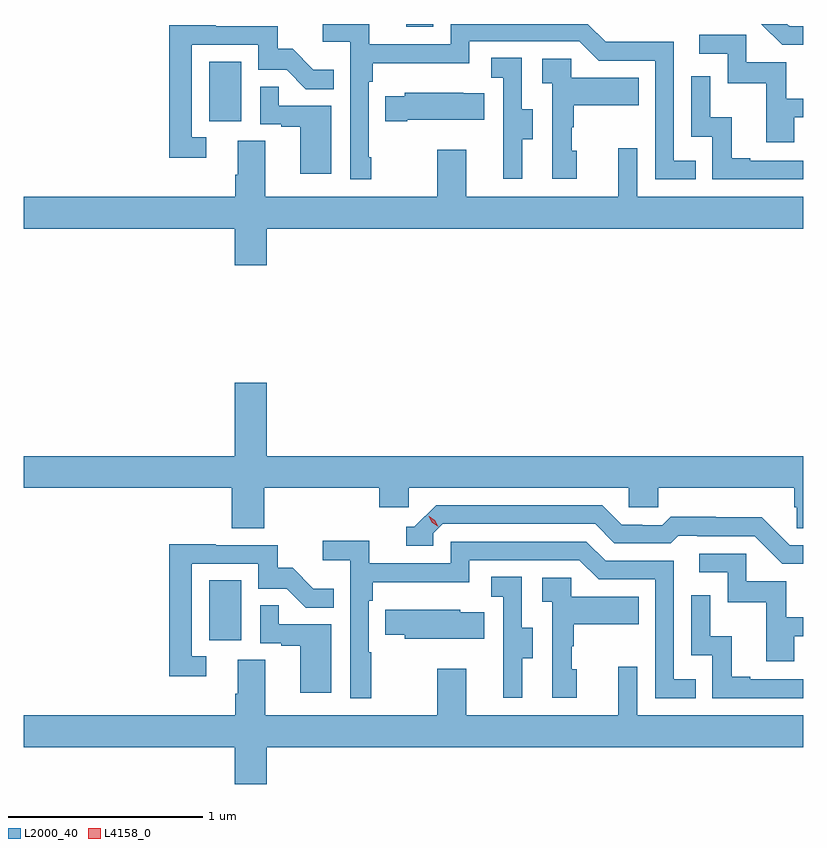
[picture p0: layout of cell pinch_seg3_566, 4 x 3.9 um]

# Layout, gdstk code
import gdstk
lib = gdstk.Library(unit=1e-6, precision=1e-09)
def R(c, l, rs):  # rectangles x0, y0, x1, y1
    for r in rs: c.add(gdstk.rectangle(r[:2], r[2:], *l))
def P(c, l, *ps):  # polygons
    for p in ps: c.add(gdstk.Polygon(p, *l))
L2000_40 = (2000, 40)
L4158_0 = (4158, 0)

pinch_seg3_566 = lib.new_cell('pinch_seg3_566')
R(pinch_seg3_566, L2000_40, [(1141.898,694.806,1142.062,695.113), (1141.898,697.47,1142.062,697.777), (1142.909,697.956,1143.048,697.97)])
P(pinch_seg3_566, L2000_40, [(1144.269,697.97),(1143.976,697.97),(1143.978,697.968),(1144.267,697.968)],
  [(1142.731,697.285),(1142.718,697.285),(1142.718,697.673),(1142.738,697.673),(1142.738,697.769),(1143.234,697.769),(1143.234,697.881),(1143.798,697.881),(1143.897,697.782),(1144.188,697.782),(1144.188,697.173),(1144.397,697.173),(1144.397,697.269),(1144.284,697.269),(1144.284,697.878),(1143.934,697.878),(1143.842,697.97),(1143.138,697.97),(1143.138,697.866),(1142.72,697.866),(1142.72,697.97),(1142.481,697.97),(1142.481,697.88),(1142.622,697.88),(1142.622,697.173),(1142.731,697.173)],
  [(1144.947,697.959),(1144.878,697.959),(1144.867,697.97),(1144.732,697.97),(1144.839,697.863),(1144.947,697.863)],
  [(1141.882,697.389),(1141.809,697.389),(1141.809,697.863),(1142.151,697.863),(1142.151,697.734),(1142.295,697.734),(1142.393,697.636),(1142.537,697.636),(1142.537,697.735),(1142.433,697.735),(1142.326,697.842),(1142.25,697.842),(1142.25,697.959),(1141.931,697.959),(1141.931,697.964),(1141.693,697.964),(1141.693,697.284),(1141.882,697.284)],
  [(1144.903,697.491),(1144.947,697.491),(1144.947,697.587),(1144.861,697.587),(1144.861,697.773),(1144.656,697.773),(1144.656,697.914),(1144.413,697.914),(1144.413,697.818),(1144.56,697.818),(1144.56,697.665),(1144.759,697.665),(1144.759,697.362),(1144.903,697.362)],
  [(1143.505,697.378),(1143.559,697.378),(1143.559,697.533),(1143.504,697.533),(1143.504,697.796),(1143.345,697.796),(1143.345,697.693),(1143.408,697.693),(1143.408,697.389),(1143.407,697.389),(1143.407,697.176),(1143.505,697.176)],
  [(1143.784,697.32),(1143.759,697.32),(1143.759,697.439),(1143.769,697.439),(1143.769,697.553),(1144.103,697.553),(1144.103,697.693),(1143.756,697.693),(1143.756,697.791),(1143.609,697.791),(1143.609,697.667),(1143.66,697.667),(1143.66,697.176),(1143.784,697.176)],
  [(1144.947,697.269),(1144.675,697.269),(1144.675,697.282),(1144.58,697.282),(1144.58,697.49),(1144.47,697.49),(1144.47,697.702),(1144.374,697.702),(1144.374,697.392),(1144.482,697.392),(1144.482,697.173),(1144.947,697.173)],
  [(1142.524,697.551),(1142.255,697.551),(1142.255,697.649),(1142.16,697.649),(1142.16,697.455),(1142.267,697.455),(1142.267,697.443),(1142.366,697.443),(1142.366,697.2),(1142.524,697.2)],
  [(1142.914,697.478),(1143.311,697.478),(1143.311,697.615),(1143.203,697.615),(1143.203,697.618),(1142.901,697.618),(1142.901,697.6),(1142.803,697.6),(1142.803,697.471),(1142.914,697.471)],
  [(1142.194,696.92),(1144.947,696.92),(1144.947,697.084),(1144.095,697.084),(1144.095,697.333),(1143.998,697.333),(1143.998,697.084),(1143.217,697.084),(1143.217,697.324),(1143.07,697.324),(1143.07,697.084),(1142.185,697.084),(1142.185,697.37),(1142.045,697.37),(1142.045,697.196),(1142.033,697.196),(1142.033,697.084),(1140.947,697.084),(1140.947,696.92),(1142.03,696.92),(1142.03,696.732),(1142.194,696.732)],
  [(1142.18,695.588),(1142.771,695.588),(1142.771,695.49),(1142.922,695.49),(1142.922,695.588),(1144.053,695.588),(1144.053,695.49),(1144.203,695.49),(1144.203,695.588),(1144.901,695.588),(1144.901,695.49),(1144.915,695.49),(1144.915,695.38),(1144.947,695.38),(1144.947,695.752),(1142.194,695.752),(1142.194,696.127),(1142.03,696.127),(1142.03,695.752),(1140.947,695.752),(1140.947,695.588),(1142.015,695.588),(1142.015,695.38),(1142.18,695.38)],
  [(1144.947,695.295),(1144.878,695.295),(1144.736,695.437),(1144.5,695.437),(1144.5,695.44),(1144.267,695.44),(1144.225,695.397),(1144.122,695.397),(1144.122,695.4),(1144.015,695.4),(1143.916,695.499),(1143.063,695.499),(1142.952,695.388),(1142.909,695.388),(1142.909,695.292),(1143.048,695.292),(1143.048,695.355),(1143.096,695.403),(1143.879,695.403),(1143.978,695.304),(1144.267,695.304),(1144.306,695.343),(1144.405,695.343),(1144.405,695.34),(1144.698,695.34),(1144.839,695.199),(1144.947,695.199)],
  [(1142.731,694.745),(1142.718,694.745),(1142.718,695.009),(1142.737,695.009),(1142.737,695.105),(1143.234,695.105),(1143.234,695.217),(1143.798,695.217),(1143.897,695.118),(1144.188,695.118),(1144.188,694.509),(1144.397,694.509),(1144.397,694.605),(1144.284,694.605),(1144.284,695.214),(1143.934,695.214),(1143.835,695.313),(1143.138,695.313),(1143.138,695.202),(1142.72,695.202),(1142.72,695.318),(1142.481,695.318),(1142.481,695.216),(1142.622,695.216),(1142.622,694.509),(1142.731,694.509)],
  [(1141.882,694.725),(1141.809,694.725),(1141.809,695.199),(1142.151,695.199),(1142.151,695.07),(1142.295,695.07),(1142.393,694.972),(1142.537,694.972),(1142.537,695.071),(1142.433,695.071),(1142.326,695.178),(1142.25,695.178),(1142.25,695.295),(1141.931,695.295),(1141.931,695.3),(1141.693,695.3),(1141.693,694.62),(1141.882,694.62)],
  [(1144.903,694.827),(1144.947,694.827),(1144.947,694.923),(1144.861,694.923),(1144.861,695.109),(1144.656,695.109),(1144.656,695.25),(1144.413,695.25),(1144.413,695.154),(1144.56,695.154),(1144.56,695.001),(1144.759,695.001),(1144.759,694.698),(1144.903,694.698)],
  [(1143.505,694.714),(1143.559,694.714),(1143.559,694.869),(1143.504,694.869),(1143.504,695.132),(1143.345,695.132),(1143.345,695.029),(1143.408,695.029),(1143.408,694.725),(1143.407,694.725),(1143.407,694.512),(1143.505,694.512)],
  [(1143.784,694.656),(1143.759,694.656),(1143.759,694.775),(1143.769,694.775),(1143.769,694.889),(1144.103,694.889),(1144.103,695.029),(1143.756,695.029),(1143.756,695.127),(1143.609,695.127),(1143.609,695.003),(1143.66,695.003),(1143.66,694.512),(1143.784,694.512)],
  [(1144.947,694.605),(1144.675,694.605),(1144.675,694.618),(1144.58,694.618),(1144.58,694.826),(1144.47,694.826),(1144.47,695.038),(1144.374,695.038),(1144.374,694.728),(1144.482,694.728),(1144.482,694.509),(1144.947,694.509)],
  [(1142.524,694.887),(1142.255,694.887),(1142.255,694.985),(1142.16,694.985),(1142.16,694.791),(1142.267,694.791),(1142.267,694.779),(1142.366,694.779),(1142.366,694.536),(1142.524,694.536)],
  [(1143.311,694.951),(1143.186,694.951),(1143.186,694.963),(1142.803,694.963),(1142.803,694.834),(1142.901,694.834),(1142.901,694.814),(1143.311,694.814)],
  [(1142.194,694.256),(1144.947,694.256),(1144.947,694.42),(1144.095,694.42),(1144.095,694.669),(1143.998,694.669),(1143.998,694.42),(1143.217,694.42),(1143.217,694.66),(1143.07,694.66),(1143.07,694.42),(1142.185,694.42),(1142.185,694.706),(1142.045,694.706),(1142.045,694.532),(1142.033,694.532),(1142.033,694.42),(1140.947,694.42),(1140.947,694.256),(1142.03,694.256),(1142.03,694.068),(1142.194,694.068)])
P(pinch_seg3_566, L4158_0, [(1143.073,695.39),(1143.042,695.41),(1143.026,695.442),(1143.026,695.443),(1143.027,695.443),(1143.057,695.423),(1143.073,695.39),(1143.073,695.39)])

lib.write_gds('pinch_seg3_566.gds')
